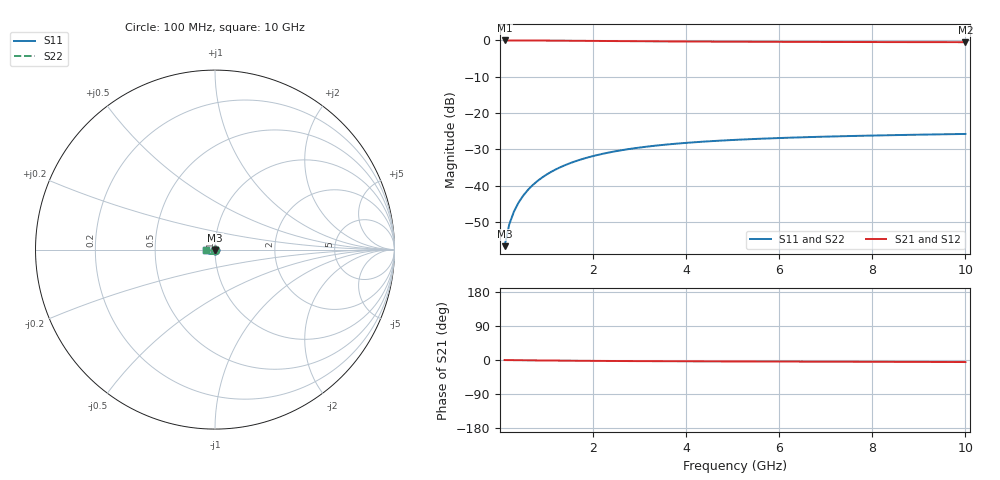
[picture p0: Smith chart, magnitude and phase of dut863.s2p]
! Touchstone file exported from HFSS 2024.1.0
!  File:  C:/UserFiles/LocalFiles/RDL_TSV_Batchsim/temp_TSV1_863_1779882074.aedt
!  Generated:  07:46:36 PM May 27, 2026
!  Design:  TSV1
!  Project:  temp_TSV1_863_1779882074
!  Setup:  Setup1
!  Solution:  Sweep
! Variables:
!  dtsv = 11.75um
!  hbump = 3um
!  htsv = 83.65um
!  lrdl = 252.1521522um
!  p = 40
!  p1 = 53.51um
!  t = 500um
!  trdl = 3um
!  wrdl = 24.89489489um
# GHz S MA R 50.000000
! Terminal data exported
! Port[1] = TSV22_T1
! Port[2] = TSV22_T2
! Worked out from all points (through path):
!   100 points, 100 MHz to 10 GHz, reference 50 ohm
!   highest |S21| = 0.00 dB at 100 MHz (marker M1); lowest = -0.5 dB at 10 GHz (marker M2)
!   lowest |S11| = -56.6 dB at 100 MHz (marker M3), VSWR 1.00, Z = 50 - j0.148 ohm
!   |S11| at or under -10 dB: start of sweep to end of sweep
!   |S22| runs from -56.6 to -25.7 dB; largest |S21 - S12| = 7.2e-15
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0.1  0.001477 -87.7  0.9998 -0.1  0.9998 -0.1  0.001477 -87.7
! Gamma 0 0 0 0
! Port Impedance 50 0 50 0
0.2  0.002948 -91.5  0.9997 -0.3  0.9997 -0.3  0.002948 -91.5
0.3  0.004418 -93.9  0.9994 -0.4  0.9994 -0.4  0.004418 -93.9
0.4  0.005881 -96.1  0.9991 -0.6  0.9991 -0.6  0.005881 -96.1
0.5  0.007331 -98.1  0.9986 -0.7  0.9986 -0.7  0.007331 -98.1
0.6  0.008765 -100.1  0.9981 -0.8  0.9981 -0.8  0.008765 -100.1
0.7  0.01018 -102.0  0.9975 -0.9  0.9975 -0.9  0.01018 -102.0
0.8  0.01157 -103.9  0.9969 -1.1  0.9969 -1.1  0.01157 -103.9
0.9  0.01293 -105.7  0.9962 -1.2  0.9962 -1.2  0.01293 -105.7
1.1  0.01556 -109.3  0.9946 -1.4  0.9946 -1.4  0.01556 -109.3
1.4  0.01925 -114.3  0.9918 -1.7  0.9918 -1.7  0.01925 -114.3
1.6  0.02153 -117.5  0.9898 -1.9  0.9898 -1.9  0.02153 -117.5
1.8  0.02366 -120.6  0.9878 -2.1  0.9878 -2.1  0.02366 -120.6
2.1  0.02659 -124.9  0.9846 -2.4  0.9846 -2.4  0.02659 -124.9
2.5  0.03001 -130.2  0.9806 -2.6  0.9806 -2.6  0.03001 -130.2
2.9  0.03293 -135.0  0.9767 -2.9  0.9767 -2.9  0.03293 -135.0
3.4  0.03599 -140.3  0.9723 -3.1  0.9723 -3.1  0.03599 -140.3
4.2  0.03982 -147.6  0.9663 -3.5  0.9663 -3.5  0.03982 -147.6
5.1  0.04301 -154.4  0.961 -3.8  0.961 -3.8  0.04301 -154.4
6.7  0.04692 -164.1  0.9544 -4.3  0.9544 -4.3  0.04692 -164.1
8.4  0.04972 -172.3  0.9498 -4.9  0.9498 -4.9  0.04972 -172.3
10  0.0517 -178.6  0.9468 -5.4  0.9468 -5.4  0.0517 -178.6
